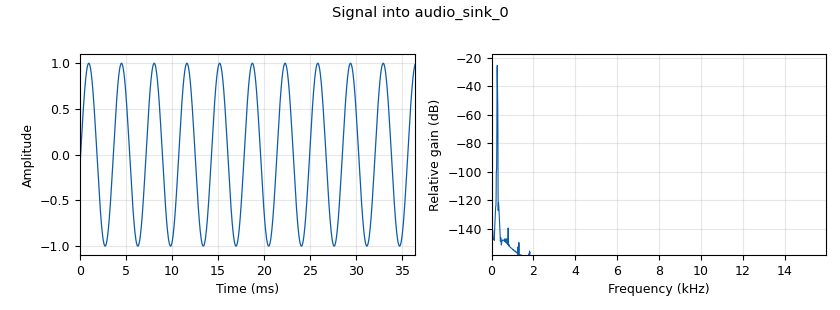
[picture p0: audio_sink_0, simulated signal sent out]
options:
  parameters:
    author: Admin
    generate_options: qt_gui
    id: first_first
    output_language: python
    title: Not titled yet
  states: {}

blocks:
- name: samp_rate
  id: variable
  parameters:
    value: '32000'
  states: {}
- name: audio_sink_0
  id: audio_sink
  parameters:
    samp_rate: samp_rate
  states: {}
- name: blocks_repeat_0
  id: blocks_repeat
  parameters:
    interp: '20000'
    type: float
  states: {}
- name: blocks_vco_f_0
  id: blocks_vco_f
  parameters:
    amplitude: '1'
    samp_rate: samp_rate
    sensitivity: '6'
  states: {}
- name: blocks_vector_source_x_0
  id: blocks_vector_source_x
  parameters:
    repeat: 'False'
    type: float
    vector: (262,262,294,262,349,330,330,262,262,294,262,392,349,349,262,262,523,440,392,330,294, 294,466,466,440,349,392,349, 349)
  states: {}

connections:
- [blocks_repeat_0, '0', blocks_vco_f_0, '0']
- [blocks_vco_f_0, '0', audio_sink_0, '0']
- [blocks_vector_source_x_0, '0', blocks_repeat_0, '0']

metadata:
  file_format: 1
